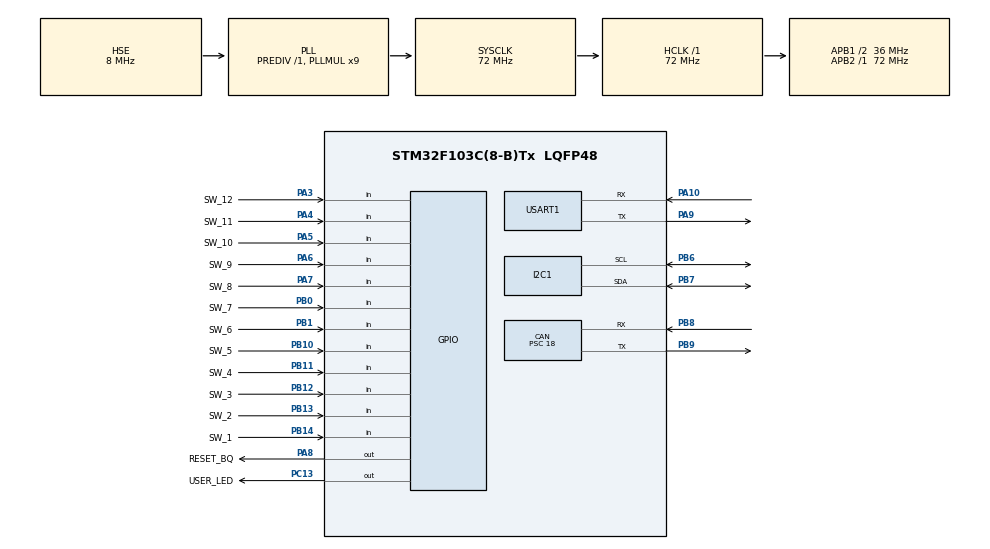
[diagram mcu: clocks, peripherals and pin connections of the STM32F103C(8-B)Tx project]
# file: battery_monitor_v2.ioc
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CAN.BS1=CAN_BS1_2TQ
CAN.CalculateBaudRate=500000
CAN.CalculateTimeBit=2000
CAN.CalculateTimeQuantum=500.0
CAN.Prescaler=18
IWDG.Prescaler=IWDG_PRESCALER_64
IWDG.Reload=3124
Mcu.Family=STM32F1
Mcu.Name=STM32F103C(8-B)Tx
Mcu.Package=LQFP48
NVIC.PriorityGroup=NVIC_PRIORITYGROUP_4
NVIC.USART1_IRQn=true\:0\:0\:false\:false\:true\:true\:true\:true
PA10.Mode=Asynchronous
PA10.Signal=USART1_RX
PA3.GPIO_Label=SW_12
PA3.GPIO_PuPd=GPIO_PULLDOWN
PA3.Signal=GPIO_Input
PA4.GPIO_Label=SW_11
PA4.GPIO_PuPd=GPIO_PULLDOWN
PA4.Signal=GPIO_Input
PA5.GPIO_Label=SW_10
PA5.GPIO_PuPd=GPIO_PULLDOWN
PA5.Signal=GPIO_Input
PA6.GPIO_Label=SW_9
PA6.GPIO_PuPd=GPIO_PULLDOWN
PA6.Signal=GPIO_Input
PA7.GPIO_Label=SW_8
PA7.GPIO_PuPd=GPIO_PULLDOWN
PA7.Signal=GPIO_Input
PA8.GPIO_Label=RESET_BQ
PA8.Signal=GPIO_Output
PA9.Mode=Asynchronous
PA9.Signal=USART1_TX
PB0.GPIO_Label=SW_7
PB0.GPIO_PuPd=GPIO_PULLDOWN
PB0.Signal=GPIO_Input
PB1.GPIO_Label=SW_6
PB1.GPIO_PuPd=GPIO_PULLDOWN
PB1.Signal=GPIO_Input
PB10.GPIO_Label=SW_5
PB10.GPIO_PuPd=GPIO_PULLDOWN
PB10.Signal=GPIO_Input
PB11.GPIO_Label=SW_4
PB11.GPIO_PuPd=GPIO_PULLDOWN
PB11.Signal=GPIO_Input
PB12.GPIO_Label=SW_3
PB12.GPIO_PuPd=GPIO_PULLDOWN
PB12.Signal=GPIO_Input
PB13.GPIO_Label=SW_2
PB13.GPIO_PuPd=GPIO_PULLDOWN
PB13.Signal=GPIO_Input
PB14.GPIO_Label=SW_1
PB14.GPIO_PuPd=GPIO_PULLDOWN
PB14.Signal=GPIO_Input
PB6.Mode=I2C
PB6.Signal=I2C1_SCL
PB7.Mode=I2C
PB7.Signal=I2C1_SDA
PB8.Mode=CAN_Activate
PB8.Signal=CAN_RX
PB9.Mode=CAN_Activate
PB9.Signal=CAN_TX
PC13-TAMPER-RTC.GPIO_Label=USER_LED
PC13-TAMPER-RTC.GPIO_PuPd=GPIO_PULLUP
PC13-TAMPER-RTC.Signal=GPIO_Output
PD0-OSC_IN.Mode=HSE-External-Oscillator
PD0-OSC_IN.Signal=RCC_OSC_IN
PD1-OSC_OUT.Mode=HSE-External-Oscillator
PD1-OSC_OUT.Signal=RCC_OSC_OUT
ProjectManager.HeapSize=0x200
ProjectManager.StackSize=0x400
ProjectManager.TargetToolchain=STM32CubeIDE
RCC.AHBFreq_Value=72000000
RCC.APB1CLKDivider=RCC_HCLK_DIV2
RCC.APB1Freq_Value=36000000
RCC.APB1TimFreq_Value=72000000
RCC.APB2Freq_Value=72000000
RCC.APB2TimFreq_Value=72000000
RCC.HCLKFreq_Value=72000000
RCC.PLLMUL=RCC_PLL_MUL9
RCC.PLLSourceVirtual=RCC_PLLSOURCE_HSE
RCC.SYSCLKFreq_VALUE=72000000
RCC.SYSCLKSource=RCC_SYSCLKSOURCE_PLLCLK
RCC.USBFreq_Value=48000000
RCC.USBPrescaler=RCC_USBCLKSOURCE_PLL_DIV1_5
USART1.VirtualMode=VM_ASYNC
VP_IWDG_VS_IWDG.Mode=IWDG_Activate
VP_SYS_VS_ND.Mode=No_Debug
board=custom

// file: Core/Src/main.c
/* USER CODE BEGIN Header */
/**
 ******************************************************************************
 * @file           : main.c
 * @brief          : Main program body
 ******************************************************************************
 * @attention
 *
 * Copyright (c) 2023 STMicroelectronics.
 * All rights reserved.
 *
 * This software is licensed under terms that can be found in the LICENSE file
 * in the root directory of this software component.
 * If no LICENSE file comes with this software, it is provided AS-IS.
 *
 ******************************************************************************
 */
/* USER CODE END Header */
#include "main.h"

/* USER CODE BEGIN Includes */
#include <stdio.h>
#include <stdarg.h>
#include <string.h>
#include "registers.h"
#include "bms_board_config.h"
#include "bms.h"
#include "common.h"
#include "interface.h"
#include "sw_id.h"
#include "bms_can_trans.h"
#include "uart.h"
#include "bat_simulator.h"
/* USER CODE END Includes */

CAN_HandleTypeDef hcan;

I2C_HandleTypeDef hi2c1;

IWDG_HandleTypeDef hiwdg;

UART_HandleTypeDef huart1;

/* USER CODE BEGIN PV */

bool datacheck = false;
CAN_FilterTypeDef sFilterConfig; // declare CAN filter structure
/* USER CODE END PV */

void SystemClock_Config(void);
static void MX_GPIO_Init(void);
static void MX_I2C1_Init(void);
static void MX_USART1_UART_Init(void);
static void MX_CAN_Init(void);
static void MX_IWDG_Init(void);
/* USER CODE BEGIN PFP */
void user_battery_calculate_soc(Bms *bms);

/* USER CODE END PFP */

/* USER CODE BEGIN 0 */
#define defive_ID 0x106
#define defive_ID_check 0x104
/* USER CODE END 0 */

int main(void)
{

  /* MCU Configuration--------------------------------------------------------*/

  /* Reset of all peripherals, Initializes the Flash interface and the Systick. */
  HAL_Init();

  /* Configure the system clock */
  SystemClock_Config();

  /* Initialize all configured peripherals */
  MX_GPIO_Init();
  MX_I2C1_Init();
  MX_USART1_UART_Init();
  MX_CAN_Init();
  MX_IWDG_Init();
  /* USER CODE BEGIN 2 */
  HAL_IWDG_Refresh(&hiwdg);
  HAL_CAN_Start(&hcan);
  battery_simulator_init();

  // Activate the notification
  HAL_CAN_ActivateNotification(&hcan, CAN_IT_RX_FIFO1_MSG_PENDING);
  // bms configuration
  Bms bms;
  bms.status.soc = 15;
#ifdef SECOND_BMS
  Bms bms_2;
#endif /* SECOND_BMS */
  bms.conf.shunt_res_mOhm = BOARD_SHUNT_RESISTOR;
  bms.conf.nominal_capacity_Ah = BOARD_BATTERY_CAPACITY;
  bms.conf.bal_idle_current = 0;
  bms.hi2c = hi2c1;
  bms.conf.thermistor_beta = 3950;
#ifdef SECOND_BMS
  bms_2.conf.shunt_res_mOhm = BOARD_SHUNT_RESISTOR;
  bms_2.conf.nominal_capacity_Ah = BOARD_BATTERY_CAPACITY;
  bms_2.conf.bal_idle_current = 0;
  bms_2.hi2c = hi2c2;
  bms_2.conf.thermistor_beta = 3950;
#endif

  while (bms_init_hardware(&bms) != 0)
  {
    HAL_GPIO_WritePin(RESET_BQ_GPIO_Port, RESET_BQ_Pin, GPIO_PIN_SET);
    LOGI("BMS hardware initialization failed pack 1, retrying in 1s");
    HAL_IWDG_Refresh(&hiwdg);
    HAL_Delay(1000);
  }
  HAL_IWDG_Refresh(&hiwdg);
  HAL_GPIO_WritePin(RESET_BQ_GPIO_Port, RESET_BQ_Pin, GPIO_PIN_RESET);
#ifdef SECOND_BMS
  while (bms_init_hardware(&bms_2) != 0)
  {
    LOGI("BMS hardware initialization failed pack 2, retrying in 1s");
    HAL_Delay(1000);
  }
#endif

  bq769x0_write_byte(&bms.hi2c, BQ769X0_CELLBAL1, 0x00);
  HAL_Delay(100);
  bq769x0_write_byte(&bms.hi2c, BQ769X0_CELLBAL2, 0x00);
  HAL_Delay(100);
  bq769x0_write_byte(&bms.hi2c, BQ769X0_CELLBAL3, 0x00);
  HAL_Delay(100);

#ifdef SECOND_BMS
  bq769x0_write_byte(&bms_2.hi2c, BQ769X0_CELLBAL1, 0x00);
  HAL_Delay(100);
  bq769x0_write_byte(&bms_2.hi2c, BQ769X0_CELLBAL2, 0x00);
  HAL_Delay(100);
  bq769x0_write_byte(&bms_2.hi2c, BQ769X0_CELLBAL3, 0x00);
  HAL_Delay(100);
#endif

  LOGI("BQ769X0_CELLBAL1 pack 1 = %x \r\n", bq769x0_read_byte(&bms.hi2c, BQ769X0_CELLBAL1));
  LOGI("BQ769X0_CELLBAL1 pack 1 = %x \r\n", bq769x0_read_byte(&bms.hi2c, BQ769X0_CELLBAL2));
  LOGI("BQ769X0_CELLBAL1 pack 1 = %x \r\n", bq769x0_read_byte(&bms.hi2c, BQ769X0_CELLBAL3));
#ifdef SECOND_BMS
  LOGI("BQ769X0_CELLBAL1 pack 2 = %x \r\n", bq769x0_read_byte(&bms_2.hi2c, BQ769X0_CELLBAL1));
  LOGI("BQ769X0_CELLBAL1 pack 2 = %x \r\n", bq769x0_read_byte(&bms_2.hi2c, BQ769X0_CELLBAL2));
  LOGI("BQ769X0_CELLBAL1 pack 2 = %x \r\n", bq769x0_read_byte(&bms_2.hi2c, BQ769X0_CELLBAL3));
#endif
  /* USER CODE END 2 */

  /* Infinite loop */
  /* USER CODE BEGIN WHILE */
  while (1)
  {
    // clear wdg interrupt
    static uint32_t clear_wdog_prev = 0;
    if (HAL_GetTick() - clear_wdog_prev >= 1000)
    {
      clear_wdog_prev = HAL_GetTick();
      user_battery_calculate_soc(&bms);
      HAL_IWDG_Refresh(&hiwdg);
    }
    // toggle led state
    static uint32_t update_led_prev = 0;
    if (HAL_GetTick() - update_led_prev >= 1000)
    {
      update_led_prev = HAL_GetTick();
      bms_update(&bms);
      HAL_GPIO_TogglePin(USER_LED_GPIO_Port, USER_LED_Pin);
    }

    // process command json command
    static uint32_t json_command_prev = 0;
    if (HAL_GetTick() - json_command_prev >= 200)
    {
      json_command_prev = HAL_GetTick();
      battery_simulator_process();
    }
    // update battery status
    static uint32_t update_battery_prev = 0;
    if (HAL_GetTick() - update_battery_prev >= 1000)
    {
      update_battery_prev = HAL_GetTick();
      LOGI("sw_id_detect() = %d", sw_id_detect());
      if (sw_id_detect() == E_SW_ID_24) // no config
        bms_can_packet_simulation_message(&simulate_data);
      else
        bms_can_packet_message(&bms, sw_id_detect(), NULL);
    }

    /* USER CODE END WHILE */

  }
}

void SystemClock_Config(void)
{
  RCC_OscInitTypeDef RCC_OscInitStruct = {0};
  RCC_ClkInitTypeDef RCC_ClkInitStruct = {0};

  /** Initializes the RCC Oscillators according to the specified parameters
   * in the RCC_OscInitTypeDef structure.
   */
  RCC_OscInitStruct.OscillatorType = RCC_OSCILLATORTYPE_LSI | RCC_OSCILLATORTYPE_HSE;
  RCC_OscInitStruct.HSEState = RCC_HSE_ON;
  RCC_OscInitStruct.HSEPredivValue = RCC_HSE_PREDIV_DIV1;
  RCC_OscInitStruct.HSIState = RCC_HSI_ON;
  RCC_OscInitStruct.LSIState = RCC_LSI_ON;
  RCC_OscInitStruct.PLL.PLLState = RCC_PLL_ON;
  RCC_OscInitStruct.PLL.PLLSource = RCC_PLLSOURCE_HSE;
  RCC_OscInitStruct.PLL.PLLMUL = RCC_PLL_MUL9;
  if (HAL_RCC_OscConfig(&RCC_OscInitStruct) != HAL_OK)
  {
    Error_Handler();
  }

  /** Initializes the CPU, AHB and APB buses clocks
   */
  RCC_ClkInitStruct.ClockType = RCC_CLOCKTYPE_HCLK | RCC_CLOCKTYPE_SYSCLK | RCC_CLOCKTYPE_PCLK1 | RCC_CLOCKTYPE_PCLK2;
  RCC_ClkInitStruct.SYSCLKSource = RCC_SYSCLKSOURCE_PLLCLK;
  RCC_ClkInitStruct.AHBCLKDivider = RCC_SYSCLK_DIV1;
  RCC_ClkInitStruct.APB1CLKDivider = RCC_HCLK_DIV2;
  RCC_ClkInitStruct.APB2CLKDivider = RCC_HCLK_DIV1;

  if (HAL_RCC_ClockConfig(&RCC_ClkInitStruct, FLASH_LATENCY_2) != HAL_OK)
  {
    Error_Handler();
  }
}

static void MX_CAN_Init(void)
{

  hcan.Instance = CAN1;
  hcan.Init.Prescaler = 18;
  hcan.Init.Mode = CAN_MODE_NORMAL;
  hcan.Init.SyncJumpWidth = CAN_SJW_1TQ;
  hcan.Init.TimeSeg1 = CAN_BS1_2TQ;
  hcan.Init.TimeSeg2 = CAN_BS2_1TQ;
  hcan.Init.TimeTriggeredMode = DISABLE;
  hcan.Init.AutoBusOff = DISABLE;
  hcan.Init.AutoWakeUp = DISABLE;
  hcan.Init.AutoRetransmission = DISABLE;
  hcan.Init.ReceiveFifoLocked = DISABLE;
  hcan.Init.TransmitFifoPriority = DISABLE;
  if (HAL_CAN_Init(&hcan) != HAL_OK)
  {
    Error_Handler();
  }
  /* USER CODE BEGIN CAN_Init 2 */
  CAN_FilterTypeDef canfilterconfig;

  canfilterconfig.FilterActivation = CAN_FILTER_ENABLE;
  canfilterconfig.FilterBank = 0; // which filter bank to use from the assigned ones
  canfilterconfig.FilterFIFOAssignment = CAN_FILTER_FIFO1;
  canfilterconfig.FilterIdHigh = 0;
  canfilterconfig.FilterIdLow = 0;
  canfilterconfig.FilterMaskIdHigh = 0;
  canfilterconfig.FilterMaskIdLow = 0x0000;
  canfilterconfig.FilterMode = CAN_FILTERMODE_IDMASK;
  canfilterconfig.FilterScale = CAN_FILTERSCALE_32BIT;
  canfilterconfig.SlaveStartFilterBank = 0; // doesn't matter in single can controllers

  HAL_CAN_ConfigFilter(&hcan, &canfilterconfig);

  /* USER CODE END CAN_Init 2 */
}

static void MX_I2C1_Init(void)
{

  hi2c1.Instance = I2C1;
  hi2c1.Init.ClockSpeed = 100000;
  hi2c1.Init.DutyCycle = I2C_DUTYCYCLE_2;
  hi2c1.Init.OwnAddress1 = 0;
  hi2c1.Init.AddressingMode = I2C_ADDRESSINGMODE_7BIT;
  hi2c1.Init.DualAddressMode = I2C_DUALADDRESS_DISABLE;
  hi2c1.Init.OwnAddress2 = 0;
  hi2c1.Init.GeneralCallMode = I2C_GENERALCALL_DISABLE;
  hi2c1.Init.NoStretchMode = I2C_NOSTRETCH_DISABLE;
  if (HAL_I2C_Init(&hi2c1) != HAL_OK)
  {
    Error_Handler();
  }
}

static void MX_IWDG_Init(void)
{

  hiwdg.Instance = IWDG;
  hiwdg.Init.Prescaler = IWDG_PRESCALER_64;
  hiwdg.Init.Reload = 3124;
  if (HAL_IWDG_Init(&hiwdg) != HAL_OK)
  {
    Error_Handler();
  }
}

static void MX_USART1_UART_Init(void)
{

  huart1.Instance = USART1;
  huart1.Init.BaudRate = 115200;
  huart1.Init.WordLength = UART_WORDLENGTH_8B;
  huart1.Init.StopBits = UART_STOPBITS_1;
  huart1.Init.Parity = UART_PARITY_NONE;
  huart1.Init.Mode = UART_MODE_TX_RX;
  huart1.Init.HwFlowCtl = UART_HWCONTROL_NONE;
  huart1.Init.OverSampling = UART_OVERSAMPLING_16;
  if (HAL_UART_Init(&huart1) != HAL_OK)
  {
    Error_Handler();
  }
  /* USER CODE BEGIN USART1_Init 2 */
  userUartDMAInit();
  /* USER CODE END USART1_Init 2 */
}

static void MX_GPIO_Init(void)
{
  GPIO_InitTypeDef GPIO_InitStruct = {0};

  /* GPIO Ports Clock Enable */
  __HAL_RCC_GPIOC_CLK_ENABLE();
  __HAL_RCC_GPIOD_CLK_ENABLE();
  __HAL_RCC_GPIOA_CLK_ENABLE();
  __HAL_RCC_GPIOB_CLK_ENABLE();

  /*Configure GPIO pin Output Level */
  HAL_GPIO_WritePin(USER_LED_GPIO_Port, USER_LED_Pin, GPIO_PIN_RESET);

  /*Configure GPIO pin Output Level */
  HAL_GPIO_WritePin(RESET_BQ_GPIO_Port, RESET_BQ_Pin, GPIO_PIN_RESET);

  /*Configure GPIO pin : USER_LED_Pin */
  GPIO_InitStruct.Pin = USER_LED_Pin;
  GPIO_InitStruct.Mode = GPIO_MODE_OUTPUT_PP;
  GPIO_InitStruct.Pull = GPIO_PULLUP;
  GPIO_InitStruct.Speed = GPIO_SPEED_FREQ_LOW;
  HAL_GPIO_Init(USER_LED_GPIO_Port, &GPIO_InitStruct);

  /*Configure GPIO pins : SW_12_Pin SW_11_Pin SW_10_Pin SW_9_Pin
                           SW_8_Pin */
  GPIO_InitStruct.Pin = SW_12_Pin | SW_11_Pin | SW_10_Pin | SW_9_Pin | SW_8_Pin;
  GPIO_InitStruct.Mode = GPIO_MODE_INPUT;
  GPIO_InitStruct.Pull = GPIO_PULLDOWN;
  HAL_GPIO_Init(GPIOA, &GPIO_InitStruct);

  /*Configure GPIO pins : SW_7_Pin SW_6_Pin SW_5_Pin SW_4_Pin
                           SW_3_Pin SW_2_Pin SW_1_Pin */
  GPIO_InitStruct.Pin = SW_7_Pin | SW_6_Pin | SW_5_Pin | SW_4_Pin | SW_3_Pin | SW_2_Pin | SW_1_Pin;
  GPIO_InitStruct.Mode = GPIO_MODE_INPUT;
  GPIO_InitStruct.Pull = GPIO_PULLDOWN;
  HAL_GPIO_Init(GPIOB, &GPIO_InitStruct);

  /*Configure GPIO pin : RESET_BQ_Pin */
  GPIO_InitStruct.Pin = RESET_BQ_Pin;
  GPIO_InitStruct.Mode = GPIO_MODE_OUTPUT_PP;
  GPIO_InitStruct.Pull = GPIO_NOPULL;
  GPIO_InitStruct.Speed = GPIO_SPEED_FREQ_LOW;
  HAL_GPIO_Init(RESET_BQ_GPIO_Port, &GPIO_InitStruct);

}

/* USER CODE BEGIN 4 */
// void HAL_CAN_RxFifo1MsgPendingCallback(CAN_HandleTypeDef *hcan)
// {
//     HAL_CAN_GetRxMessage(hcan, CAN_RX_FIFO1, &RxHeader, RxData);
//     if (RxHeader.StdId == defive_ID_check)
//         datacheck = 1;
// }
#define MIN(a, b) ((a) < (b) ? (a) : (b))
#define CLAMP(val, low, high) (((val) <= (low)) ? (low) : MIN(val, high))
void user_battery_calculate_soc(Bms *bms)
{
  static float coulomb_counter_mAs = 0;
  if (bms->status.pack_voltage >= 52.5)
  {
    bms->status.soc = 100;
  }
  else
  {
    coulomb_counter_mAs += bms->status.pack_current * 1000;
    float soc_delta = coulomb_counter_mAs / (bms->conf.nominal_capacity_Ah * 3.6e4F);

    if (soc_delta > 0.1F || soc_delta < -0.1F)
    {
      // only update SoC after significant changes to maintain higher resolution
      float soc_tmp = bms->status.soc + soc_delta;
      bms->status.soc = CLAMP(soc_tmp, 0.0F, 100.0F);
      coulomb_counter_mAs = 0;
    }
  }
}
/* USER CODE END 4 */

void Error_Handler(void)
{
  __disable_irq();
  while (1)
  {
  }
}
